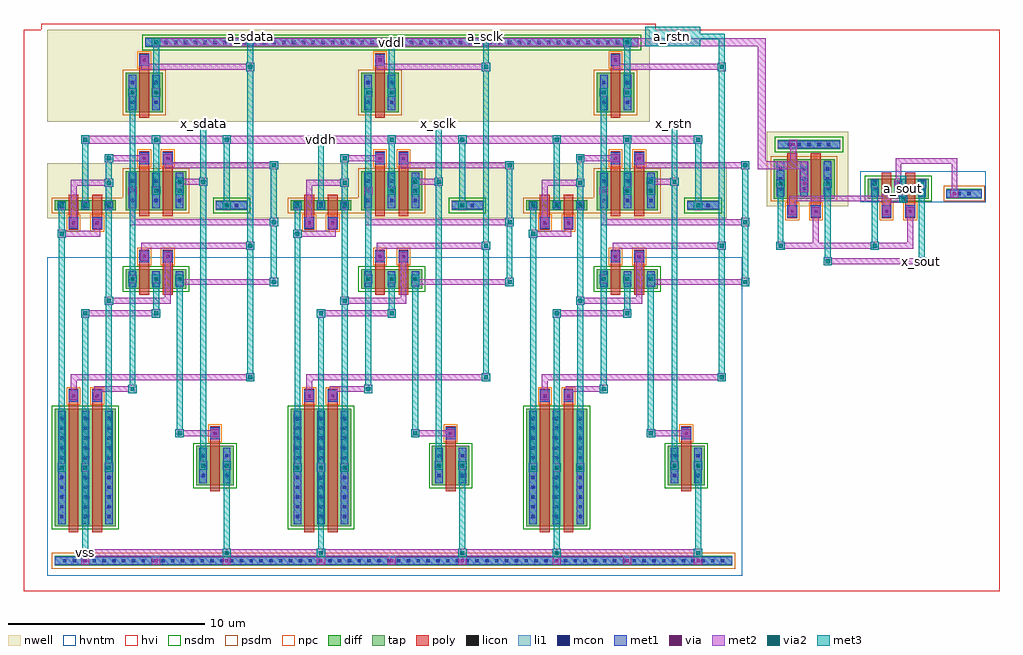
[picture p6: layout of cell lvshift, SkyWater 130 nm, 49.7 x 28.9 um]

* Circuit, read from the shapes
.subckt lvshift a_rstn a_sclk a_sdata a_sout vddh vddl vss x_rstn x_sclk x_sdata x_sout
XM1 vss a_sdata n1 vss sky130_fd_pr__nfet_g5v0d10v5 w=6 l=0.5
XM2 n2 n3 vss vss sky130_fd_pr__nfet_g5v0d10v5 w=6 l=0.5
XM3 vss a_sdata n3 vss sky130_fd_pr__nfet_g5v0d10v5 w=1 l=0.5
XM4 n4 n2 vss vss sky130_fd_pr__nfet_g5v0d10v5 w=1 l=0.5
XM5 vss n4 x_sdata vss sky130_fd_pr__nfet_g5v0d10v5 w=2 l=0.5
XM6 vss a_sclk n5 vss sky130_fd_pr__nfet_g5v0d10v5 w=6 l=0.5
XM7 n6 n7 vss vss sky130_fd_pr__nfet_g5v0d10v5 w=6 l=0.5
XM8 vss a_sclk n7 vss sky130_fd_pr__nfet_g5v0d10v5 w=1 l=0.5
XM9 n8 n6 vss vss sky130_fd_pr__nfet_g5v0d10v5 w=1 l=0.5
XM10 vss n8 x_sclk vss sky130_fd_pr__nfet_g5v0d10v5 w=2 l=0.5
XM11 vss a_rstn n9 vss sky130_fd_pr__nfet_g5v0d10v5 w=6 l=0.5
XM12 n10 n11 vss vss sky130_fd_pr__nfet_g5v0d10v5 w=6 l=0.5
XM13 vss a_rstn n11 vss sky130_fd_pr__nfet_g5v0d10v5 w=1 l=0.5
XM14 n12 n10 vss vss sky130_fd_pr__nfet_g5v0d10v5 w=1 l=0.5
XM15 vss n12 x_rstn vss sky130_fd_pr__nfet_g5v0d10v5 w=2 l=0.5
XM16 vss a_sout n13 vss sky130_fd_pr__nfet_g5v0d10v5 w=1 l=0.5
XM17 x_sout n13 vss vss sky130_fd_pr__nfet_g5v0d10v5 w=1 l=0.5
XM18 vddh n2 n1 vddh sky130_fd_pr__pfet_g5v0d10v5 w=0.5 l=0.5
XM19 n2 n1 vddh vddh sky130_fd_pr__pfet_g5v0d10v5 w=0.5 l=0.5
XM20 vddh n2 n4 vddh sky130_fd_pr__pfet_g5v0d10v5 w=2 l=0.5
XM21 vddl a_sdata n3 vddl sky130_fd_pr__pfet_g5v0d10v5 w=2 l=0.5
XM22 x_sdata n4 vddh vddh sky130_fd_pr__pfet_g5v0d10v5 w=2 l=0.5
XM23 vddh n6 n5 vddh sky130_fd_pr__pfet_g5v0d10v5 w=0.5 l=0.5
XM24 n6 n5 vddh vddh sky130_fd_pr__pfet_g5v0d10v5 w=0.5 l=0.5
XM25 vddh n6 n8 vddh sky130_fd_pr__pfet_g5v0d10v5 w=2 l=0.5
XM26 vddl a_sclk n7 vddl sky130_fd_pr__pfet_g5v0d10v5 w=2 l=0.5
XM27 x_sclk n8 vddh vddh sky130_fd_pr__pfet_g5v0d10v5 w=2 l=0.5
XM28 vddh n10 n9 vddh sky130_fd_pr__pfet_g5v0d10v5 w=0.5 l=0.5
XM29 n10 n9 vddh vddh sky130_fd_pr__pfet_g5v0d10v5 w=0.5 l=0.5
XM30 vddh n10 n12 vddh sky130_fd_pr__pfet_g5v0d10v5 w=2 l=0.5
XM31 vddl a_rstn n11 vddl sky130_fd_pr__pfet_g5v0d10v5 w=2 l=0.5
XM32 x_rstn n12 vddh vddh sky130_fd_pr__pfet_g5v0d10v5 w=2 l=0.5
XM33 vddl a_sout n13 vddl sky130_fd_pr__pfet_g5v0d10v5 w=2 l=0.5
XM34 x_sout n13 vddl vddl sky130_fd_pr__pfet_g5v0d10v5 w=2 l=0.5
.ends

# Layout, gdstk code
import gdstk
lib = gdstk.Library(unit=1e-6, precision=1e-09)
def R(c, l, rs):  # rectangles x0, y0, x1, y1
    for r in rs: c.add(gdstk.rectangle(r[:2], r[2:], *l))
def A(c, l, x, y, w, h, nx, ny, dx, dy):  # array of equal rectangles
    R(c, l, [(x+i*dx, y+j*dy, x+i*dx+w, y+j*dy+h) for i in range(nx) for j in range(ny)])
nwell = (64, 20)
diff = (65, 20)
tap = (65, 44)
poly = (66, 20)
licon = (66, 44)
li1 = (67, 20)
mcon = (67, 44)
met1 = (68, 20)
via = (68, 44)
met2 = (69, 20)
via2 = (69, 44)
met3 = (70, 20)
hvi = (75, 20)
nsdm = (93, 44)
psdm = (94, 20)
npc = (95, 20)
hvntm = (125, 20)

lvshift = lib.new_cell('lvshift')
R(lvshift, nwell, [(0.2,16.6,34.8,19.4), (36.85,17.2,41,21), (0.2,21.5,30.9,26.2)])
A(lvshift, diff, 0.6, 0.9, 3.1, 6, 3, 1, 12, 0)
A(lvshift, diff, 7.8, 3, 1.9, 2, 3, 1, 12, 0)
A(lvshift, diff, 4.2, 13, 3.1, 1, 3, 1, 12, 0)
A(lvshift, diff, 0.6, 17, 3.1, 0.5, 3, 1, 12, 0)
A(lvshift, diff, 4.2, 17, 3.1, 2, 3, 1, 12, 0)
A(lvshift, diff, 4.2, 22, 1.9, 2, 3, 1, 12, 0)
R(lvshift, diff, [(37.2,17.6,40.3,19.6), (42,17.6,45.1,18.6)])
A(lvshift, tap, 8.8, 17, 1.6, 0.5, 3, 1, 12, 0)
R(lvshift, tap, [(0.6,-1.1,35.1,-0.6), (46,17.6,47.8,18.1), (37.4,20.1,40.6,20.6), (5.2,25.3,30.3,25.8)])
A(lvshift, poly, 8.5, 2.7, 0.5, 3.3, 3, 1, 12, 0)
A(lvshift, poly, 4.9, 21.7, 0.5, 3.3, 3, 1, 12, 0)
R(lvshift, poly, [(1.3,0.6,1.8,7.9), (2.5,0.6,3,7.9), (13.3,0.6,13.8,7.9), (14.5,0.6,15,7.9), (25.3,0.6,25.8,7.9), (26.5,0.6,27,7.9), (4.9,12.7,5.4,15), (6.1,12.7,6.6,15), (16.9,12.7,17.4,15), (18.1,12.7,18.6,15), (28.9,12.7,29.4,15), (30.1,12.7,30.6,15), (1.3,16,1.8,16.7), (2.5,16,3,16.7), (13.3,16,13.8,16.7), (14.5,16,15,16.7), (25.3,16,25.8,16.7), (26.5,16,27,16.7), (37.9,16.6,38.4,17.3), (39.1,16.6,39.6,17.3), (42.7,16.6,43.2,17.3), (43.9,16.6,44.4,17.3), (1.3,16.7,1.8,17.8), (2.5,16.7,3,17.8), (4.9,16.7,5.4,20), (6.1,16.7,6.6,20), (13.3,16.7,13.8,17.8), (14.5,16.7,15,17.8), (16.9,16.7,17.4,20), (18.1,16.7,18.6,20), (25.3,16.7,25.8,17.8), (26.5,16.7,27,17.8), (28.9,16.7,29.4,20), (30.1,16.7,30.6,20), (37.9,17.3,38.4,19.9), (39.1,17.3,39.6,19.9), (42.7,17.3,43.2,18.9), (43.9,17.3,44.4,18.9)])
A(lvshift, licon, 1.015, -0.935, 0.17, 0.17, 68, 1, 0.5, 0)
A(lvshift, licon, 0.865, 1.315, 0.17, 0.17, 3, 11, 1.2, 0.5)
A(lvshift, licon, 12.865, 1.315, 0.17, 0.17, 3, 11, 1.2, 0.5)
A(lvshift, licon, 24.865, 1.315, 0.17, 0.17, 3, 11, 1.2, 0.5)
A(lvshift, licon, 8.065, 3.415, 0.17, 0.17, 1, 3, 0, 0.5)
A(lvshift, licon, 9.265, 3.415, 0.17, 0.17, 1, 3, 0, 0.5)
A(lvshift, licon, 20.065, 3.415, 0.17, 0.17, 1, 3, 0, 0.5)
A(lvshift, licon, 21.265, 3.415, 0.17, 0.17, 1, 3, 0, 0.5)
A(lvshift, licon, 32.065, 3.415, 0.17, 0.17, 1, 3, 0, 0.5)
A(lvshift, licon, 33.265, 3.415, 0.17, 0.17, 1, 3, 0, 0.5)
A(lvshift, licon, 8.665, 5.565, 0.17, 0.17, 3, 1, 12, 0)
A(lvshift, licon, 4.465, 13.415, 0.17, 0.17, 3, 2, 1.2, 4)
A(lvshift, licon, 16.465, 13.415, 0.17, 0.17, 3, 2, 1.2, 4)
A(lvshift, licon, 28.465, 13.415, 0.17, 0.17, 3, 2, 1.2, 4)
A(lvshift, licon, 0.865, 17.165, 0.17, 0.17, 3, 1, 1.2, 0)
A(lvshift, licon, 12.865, 17.165, 0.17, 0.17, 3, 1, 1.2, 0)
A(lvshift, licon, 24.865, 17.165, 0.17, 0.17, 3, 1, 1.2, 0)
A(lvshift, licon, 4.465, 17.915, 0.17, 0.17, 3, 2, 1.2, 0.5)
A(lvshift, licon, 16.465, 17.915, 0.17, 0.17, 3, 2, 1.2, 0.5)
A(lvshift, licon, 28.465, 17.915, 0.17, 0.17, 3, 2, 1.2, 0.5)
A(lvshift, licon, 37.465, 18.015, 0.17, 0.17, 3, 3, 1.2, 0.5)
A(lvshift, licon, 42.265, 18.015, 0.17, 0.17, 3, 1, 1.2, 0)
A(lvshift, licon, 37.915, 20.265, 0.17, 0.17, 5, 1, 0.5, 0)
A(lvshift, licon, 4.465, 22.415, 0.17, 0.17, 1, 3, 0, 0.5)
A(lvshift, licon, 5.665, 22.415, 0.17, 0.17, 1, 3, 0, 0.5)
A(lvshift, licon, 16.465, 22.415, 0.17, 0.17, 1, 3, 0, 0.5)
A(lvshift, licon, 17.665, 22.415, 0.17, 0.17, 1, 3, 0, 0.5)
A(lvshift, licon, 28.465, 22.415, 0.17, 0.17, 1, 3, 0, 0.5)
A(lvshift, licon, 29.665, 22.415, 0.17, 0.17, 1, 3, 0, 0.5)
A(lvshift, licon, 5.065, 24.565, 0.17, 0.17, 3, 1, 12, 0)
A(lvshift, licon, 5.665, 25.465, 0.17, 0.17, 49, 1, 0.5, 0)
R(lvshift, licon, [(1.465,7.465,1.635,7.635), (2.665,7.465,2.835,7.635), (13.465,7.465,13.635,7.635), (14.665,7.465,14.835,7.635), (25.465,7.465,25.635,7.635), (26.665,7.465,26.835,7.635), (5.065,14.565,5.235,14.735), (6.265,14.565,6.435,14.735), (17.065,14.565,17.235,14.735), (18.265,14.565,18.435,14.735), (29.065,14.565,29.235,14.735), (30.265,14.565,30.435,14.735), (1.465,16.265,1.635,16.435), (2.665,16.265,2.835,16.435), (13.465,16.265,13.635,16.435), (14.665,16.265,14.835,16.435), (25.465,16.265,25.635,16.435), (26.665,16.265,26.835,16.435), (38.065,16.865,38.235,17.035), (39.265,16.865,39.435,17.035), (42.865,16.865,43.035,17.035), (44.065,16.865,44.235,17.035), (9.265,17.165,9.435,17.335), (9.765,17.165,9.935,17.335), (21.265,17.165,21.435,17.335), (21.765,17.165,21.935,17.335), (33.265,17.165,33.435,17.335), (33.765,17.165,33.935,17.335), (46.565,17.765,46.735,17.935), (47.065,17.765,47.235,17.935), (5.065,19.565,5.235,19.735), (6.265,19.565,6.435,19.735), (17.065,19.565,17.235,19.735), (18.265,19.565,18.435,19.735), (29.065,19.565,29.235,19.735), (30.265,19.565,30.435,19.735)])
A(lvshift, li1, 0.76, 1, 0.38, 5.8, 3, 1, 1.2, 0)
A(lvshift, li1, 12.76, 1, 0.38, 5.8, 3, 1, 1.2, 0)
A(lvshift, li1, 24.76, 1, 0.38, 5.8, 3, 1, 1.2, 0)
A(lvshift, li1, 8.5, 5.35, 0.5, 0.6, 3, 1, 12, 0)
A(lvshift, li1, 4.36, 13.1, 0.38, 0.8, 3, 1, 1.2, 0)
A(lvshift, li1, 16.36, 13.1, 0.38, 0.8, 3, 1, 1.2, 0)
A(lvshift, li1, 28.36, 13.1, 0.38, 0.8, 3, 1, 1.2, 0)
A(lvshift, li1, 8.8, 17.05, 1.6, 0.4, 3, 1, 12, 0)
A(lvshift, li1, 0.76, 17.1, 0.38, 0.3, 3, 1, 1.2, 0)
A(lvshift, li1, 4.36, 17.1, 0.38, 1.8, 3, 1, 1.2, 0)
A(lvshift, li1, 12.76, 17.1, 0.38, 0.3, 3, 1, 1.2, 0)
A(lvshift, li1, 16.36, 17.1, 0.38, 1.8, 3, 1, 1.2, 0)
A(lvshift, li1, 24.76, 17.1, 0.38, 0.3, 3, 1, 1.2, 0)
A(lvshift, li1, 28.36, 17.1, 0.38, 1.8, 3, 1, 1.2, 0)
A(lvshift, li1, 37.36, 17.7, 0.38, 1.8, 3, 1, 1.2, 0)
A(lvshift, li1, 42.16, 17.7, 0.38, 0.8, 3, 1, 1.2, 0)
A(lvshift, li1, 4.9, 24.35, 0.5, 0.6, 3, 1, 12, 0)
R(lvshift, li1, [(0.6,-1.05,35.1,-0.65), (7.96,3.1,8.34,4.9), (9.16,3.1,9.54,4.9), (19.96,3.1,20.34,4.9), (21.16,3.1,21.54,4.9), (31.96,3.1,32.34,4.9), (33.16,3.1,33.54,4.9), (1.3,7.25,1.8,7.85), (2.5,7.25,3,7.85), (13.3,7.25,13.8,7.85), (14.5,7.25,15,7.85), (25.3,7.25,25.8,7.85), (26.5,7.25,27,7.85), (4.9,14.35,5.4,14.95), (6.1,14.35,6.6,14.95), (16.9,14.35,17.4,14.95), (18.1,14.35,18.6,14.95), (28.9,14.35,29.4,14.95), (30.1,14.35,30.6,14.95), (1.3,16.05,1.8,16.65), (2.5,16.05,3,16.65), (13.3,16.05,13.8,16.65), (14.5,16.05,15,16.65), (25.3,16.05,25.8,16.65), (26.5,16.05,27,16.65), (37.9,16.65,38.4,17.25), (39.1,16.65,39.6,17.25), (42.7,16.65,43.2,17.25), (43.9,16.65,44.4,17.25), (46,17.65,47.8,18.05), (4.9,19.35,5.4,19.95), (6.1,19.35,6.6,19.95), (16.9,19.35,17.4,19.95), (18.1,19.35,18.6,19.95), (28.9,19.35,29.4,19.95), (30.1,19.35,30.6,19.95), (37.4,20.15,40.6,20.55), (4.36,22.1,4.74,23.9), (5.56,22.1,5.94,23.9), (16.36,22.1,16.74,23.9), (17.56,22.1,17.94,23.9), (28.36,22.1,28.74,23.9), (29.56,22.1,29.94,23.9), (5.2,25.35,30.3,25.75)])
A(lvshift, mcon, 1.015, -0.935, 0.17, 0.17, 68, 1, 0.5, 0)
A(lvshift, mcon, 0.865, 1.315, 0.17, 0.17, 3, 11, 1.2, 0.5)
A(lvshift, mcon, 12.865, 1.315, 0.17, 0.17, 3, 11, 1.2, 0.5)
A(lvshift, mcon, 24.865, 1.315, 0.17, 0.17, 3, 11, 1.2, 0.5)
A(lvshift, mcon, 8.065, 3.415, 0.17, 0.17, 1, 3, 0, 0.5)
A(lvshift, mcon, 9.265, 3.415, 0.17, 0.17, 1, 3, 0, 0.5)
A(lvshift, mcon, 20.065, 3.415, 0.17, 0.17, 1, 3, 0, 0.5)
A(lvshift, mcon, 21.265, 3.415, 0.17, 0.17, 1, 3, 0, 0.5)
A(lvshift, mcon, 32.065, 3.415, 0.17, 0.17, 1, 3, 0, 0.5)
A(lvshift, mcon, 33.265, 3.415, 0.17, 0.17, 1, 3, 0, 0.5)
A(lvshift, mcon, 8.665, 5.565, 0.17, 0.17, 3, 1, 12, 0)
A(lvshift, mcon, 4.465, 13.415, 0.17, 0.17, 3, 2, 1.2, 4)
A(lvshift, mcon, 16.465, 13.415, 0.17, 0.17, 3, 2, 1.2, 4)
A(lvshift, mcon, 28.465, 13.415, 0.17, 0.17, 3, 2, 1.2, 4)
A(lvshift, mcon, 0.865, 17.165, 0.17, 0.17, 3, 1, 1.2, 0)
A(lvshift, mcon, 12.865, 17.165, 0.17, 0.17, 3, 1, 1.2, 0)
A(lvshift, mcon, 24.865, 17.165, 0.17, 0.17, 3, 1, 1.2, 0)
A(lvshift, mcon, 4.465, 17.915, 0.17, 0.17, 3, 2, 1.2, 0.5)
A(lvshift, mcon, 16.465, 17.915, 0.17, 0.17, 3, 2, 1.2, 0.5)
A(lvshift, mcon, 28.465, 17.915, 0.17, 0.17, 3, 2, 1.2, 0.5)
A(lvshift, mcon, 37.465, 18.015, 0.17, 0.17, 3, 3, 1.2, 0.5)
A(lvshift, mcon, 42.265, 18.015, 0.17, 0.17, 3, 1, 1.2, 0)
A(lvshift, mcon, 37.915, 20.265, 0.17, 0.17, 5, 1, 0.5, 0)
A(lvshift, mcon, 4.465, 22.415, 0.17, 0.17, 1, 3, 0, 0.5)
A(lvshift, mcon, 5.665, 22.415, 0.17, 0.17, 1, 3, 0, 0.5)
A(lvshift, mcon, 16.465, 22.415, 0.17, 0.17, 1, 3, 0, 0.5)
A(lvshift, mcon, 17.665, 22.415, 0.17, 0.17, 1, 3, 0, 0.5)
A(lvshift, mcon, 28.465, 22.415, 0.17, 0.17, 1, 3, 0, 0.5)
A(lvshift, mcon, 29.665, 22.415, 0.17, 0.17, 1, 3, 0, 0.5)
A(lvshift, mcon, 5.065, 24.565, 0.17, 0.17, 3, 1, 12, 0)
A(lvshift, mcon, 5.665, 25.465, 0.17, 0.17, 49, 1, 0.5, 0)
R(lvshift, mcon, [(1.465,7.465,1.635,7.635), (2.665,7.465,2.835,7.635), (13.465,7.465,13.635,7.635), (14.665,7.465,14.835,7.635), (25.465,7.465,25.635,7.635), (26.665,7.465,26.835,7.635), (5.065,14.565,5.235,14.735), (6.265,14.565,6.435,14.735), (17.065,14.565,17.235,14.735), (18.265,14.565,18.435,14.735), (29.065,14.565,29.235,14.735), (30.265,14.565,30.435,14.735), (1.465,16.265,1.635,16.435), (2.665,16.265,2.835,16.435), (13.465,16.265,13.635,16.435), (14.665,16.265,14.835,16.435), (25.465,16.265,25.635,16.435), (26.665,16.265,26.835,16.435), (38.065,16.865,38.235,17.035), (39.265,16.865,39.435,17.035), (42.865,16.865,43.035,17.035), (44.065,16.865,44.235,17.035), (9.265,17.165,9.435,17.335), (9.765,17.165,9.935,17.335), (21.265,17.165,21.435,17.335), (21.765,17.165,21.935,17.335), (33.265,17.165,33.435,17.335), (33.765,17.165,33.935,17.335), (46.565,17.765,46.735,17.935), (47.065,17.765,47.235,17.935), (5.065,19.565,5.235,19.735), (6.265,19.565,6.435,19.735), (17.065,19.565,17.235,19.735), (18.265,19.565,18.435,19.735), (29.065,19.565,29.235,19.735), (30.265,19.565,30.435,19.735)])
A(lvshift, met1, 2.005, -0.995, 0.29, 0.29, 3, 1, 3.6, 0)
A(lvshift, met1, 14.005, -0.995, 0.29, 0.29, 3, 1, 3.6, 0)
A(lvshift, met1, 26.005, -0.995, 0.29, 0.29, 3, 1, 3.6, 0)
A(lvshift, met1, 0.76, 1, 0.38, 5.8, 3, 1, 1.2, 0)
A(lvshift, met1, 12.76, 1, 0.38, 5.8, 3, 1, 1.2, 0)
A(lvshift, met1, 24.76, 1, 0.38, 5.8, 3, 1, 1.2, 0)
A(lvshift, met1, 0.805, 3.755, 0.29, 0.29, 3, 2, 1.2, 13.35)
A(lvshift, met1, 12.805, 3.755, 0.29, 0.29, 3, 2, 1.2, 13.35)
A(lvshift, met1, 24.805, 3.755, 0.29, 0.29, 3, 2, 1.2, 13.35)
A(lvshift, met1, 8.5, 5.35, 0.5, 0.6, 3, 1, 12, 0)
A(lvshift, met1, 8.605, 5.505, 0.29, 0.29, 3, 1, 12, 0)
A(lvshift, met1, 4.36, 13.1, 0.38, 0.8, 3, 1, 1.2, 0)
A(lvshift, met1, 16.36, 13.1, 0.38, 0.8, 3, 1, 1.2, 0)
A(lvshift, met1, 28.36, 13.1, 0.38, 0.8, 3, 1, 1.2, 0)
A(lvshift, met1, 4.405, 13.355, 0.29, 0.29, 3, 2, 1.2, 4.5)
A(lvshift, met1, 16.405, 13.355, 0.29, 0.29, 3, 2, 1.2, 4.5)
A(lvshift, met1, 28.405, 13.355, 0.29, 0.29, 3, 2, 1.2, 4.5)
A(lvshift, met1, 8.8, 17.05, 1.6, 0.4, 3, 1, 12, 0)
A(lvshift, met1, 0.76, 17.1, 0.38, 0.3, 3, 1, 1.2, 0)
A(lvshift, met1, 4.36, 17.1, 0.38, 1.8, 3, 1, 1.2, 0)
A(lvshift, met1, 12.76, 17.1, 0.38, 0.3, 3, 1, 1.2, 0)
A(lvshift, met1, 16.36, 17.1, 0.38, 1.8, 3, 1, 1.2, 0)
A(lvshift, met1, 24.76, 17.1, 0.38, 0.3, 3, 1, 1.2, 0)
A(lvshift, met1, 28.36, 17.1, 0.38, 1.8, 3, 1, 1.2, 0)
A(lvshift, met1, 37.36, 17.7, 0.38, 1.8, 3, 1, 1.2, 0)
A(lvshift, met1, 42.16, 17.7, 0.38, 0.8, 3, 1, 1.2, 0)
A(lvshift, met1, 37.405, 18.205, 0.29, 0.29, 3, 1, 1.2, 0)
A(lvshift, met1, 42.205, 18.205, 0.29, 0.29, 3, 1, 1.2, 0)
A(lvshift, met1, 4.9, 24.35, 0.5, 0.6, 3, 1, 12, 0)
A(lvshift, met1, 5.005, 24.505, 0.29, 0.29, 3, 1, 12, 0)
R(lvshift, met1, [(0.6,-1.05,35.1,-0.65), (7.96,3.1,8.34,4.9), (9.16,3.1,9.54,4.9), (19.96,3.1,20.34,4.9), (21.16,3.1,21.54,4.9), (31.96,3.1,32.34,4.9), (33.16,3.1,33.54,4.9), (8.005,3.855,8.295,4.145), (9.205,3.855,9.495,4.145), (20.005,3.855,20.295,4.145), (21.205,3.855,21.495,4.145), (32.005,3.855,32.295,4.145), (33.205,3.855,33.495,4.145), (1.3,7.25,1.8,7.85), (2.5,7.25,3,7.85), (13.3,7.25,13.8,7.85), (14.5,7.25,15,7.85), (25.3,7.25,25.8,7.85), (26.5,7.25,27,7.85), (1.405,7.405,1.695,7.695), (2.605,7.405,2.895,7.695), (13.405,7.405,13.695,7.695), (14.605,7.405,14.895,7.695), (25.405,7.405,25.695,7.695), (26.605,7.405,26.895,7.695), (4.9,14.35,5.4,14.95), (6.1,14.35,6.6,14.95), (16.9,14.35,17.4,14.95), (18.1,14.35,18.6,14.95), (28.9,14.35,29.4,14.95), (30.1,14.35,30.6,14.95), (5.005,14.505,5.295,14.795), (6.205,14.505,6.495,14.795), (17.005,14.505,17.295,14.795), (18.205,14.505,18.495,14.795), (29.005,14.505,29.295,14.795), (30.205,14.505,30.495,14.795), (1.3,16.05,1.8,16.65), (2.5,16.05,3,16.65), (13.3,16.05,13.8,16.65), (14.5,16.05,15,16.65), (25.3,16.05,25.8,16.65), (26.5,16.05,27,16.65), (1.405,16.205,1.695,16.495), (2.605,16.205,2.895,16.495), (13.405,16.205,13.695,16.495), (14.605,16.205,14.895,16.495), (25.405,16.205,25.695,16.495), (26.605,16.205,26.895,16.495), (37.9,16.65,38.4,17.25), (39.1,16.65,39.6,17.25), (42.7,16.65,43.2,17.25), (43.9,16.65,44.4,17.25), (38.005,16.805,38.295,17.095), (39.205,16.805,39.495,17.095), (42.805,16.805,43.095,17.095), (44.005,16.805,44.295,17.095), (9.205,17.105,9.495,17.395), (21.205,17.105,21.495,17.395), (33.205,17.105,33.495,17.395), (46,17.65,47.8,18.05), (46.255,17.705,46.545,17.995), (4.9,19.35,5.4,19.95), (6.1,19.35,6.6,19.95), (16.9,19.35,17.4,19.95), (18.1,19.35,18.6,19.95), (28.9,19.35,29.4,19.95), (30.1,19.35,30.6,19.95), (5.005,19.505,5.295,19.795), (6.205,19.505,6.495,19.795), (17.005,19.505,17.295,19.795), (18.205,19.505,18.495,19.795), (29.005,19.505,29.295,19.795), (30.205,19.505,30.495,19.795), (37.4,20.15,40.6,20.55), (38.055,20.205,38.345,20.495), (4.36,22.1,4.74,23.9), (5.56,22.1,5.94,23.9), (16.36,22.1,16.74,23.9), (17.56,22.1,17.94,23.9), (28.36,22.1,28.74,23.9), (29.56,22.1,29.94,23.9), (4.405,22.855,4.695,23.145), (5.605,22.855,5.895,23.145), (16.405,22.855,16.695,23.145), (17.605,22.855,17.895,23.145), (28.405,22.855,28.695,23.145), (29.605,22.855,29.895,23.145), (5.2,25.35,30.3,25.75), (17.605,25.405,17.895,25.695)])
A(lvshift, via, 2.075, -0.925, 0.15, 0.15, 3, 1, 3.6, 0)
A(lvshift, via, 14.075, -0.925, 0.15, 0.15, 3, 1, 3.6, 0)
A(lvshift, via, 26.075, -0.925, 0.15, 0.15, 3, 1, 3.6, 0)
A(lvshift, via, 0.875, 3.825, 0.15, 0.15, 3, 2, 1.2, 13.35)
A(lvshift, via, 12.875, 3.825, 0.15, 0.15, 3, 2, 1.2, 13.35)
A(lvshift, via, 24.875, 3.825, 0.15, 0.15, 3, 2, 1.2, 13.35)
A(lvshift, via, 8.675, 5.575, 0.15, 0.15, 3, 1, 12, 0)
A(lvshift, via, 4.475, 13.425, 0.15, 0.15, 3, 2, 1.2, 4.5)
A(lvshift, via, 16.475, 13.425, 0.15, 0.15, 3, 2, 1.2, 4.5)
A(lvshift, via, 28.475, 13.425, 0.15, 0.15, 3, 2, 1.2, 4.5)
A(lvshift, via, 37.475, 18.275, 0.15, 0.15, 3, 1, 1.2, 0)
A(lvshift, via, 42.275, 18.275, 0.15, 0.15, 3, 1, 1.2, 0)
A(lvshift, via, 5.075, 24.575, 0.15, 0.15, 3, 1, 12, 0)
R(lvshift, via, [(8.075,3.925,8.225,4.075), (9.275,3.925,9.425,4.075), (20.075,3.925,20.225,4.075), (21.275,3.925,21.425,4.075), (32.075,3.925,32.225,4.075), (33.275,3.925,33.425,4.075), (1.475,7.475,1.625,7.625), (2.675,7.475,2.825,7.625), (13.475,7.475,13.625,7.625), (14.675,7.475,14.825,7.625), (25.475,7.475,25.625,7.625), (26.675,7.475,26.825,7.625), (5.075,14.575,5.225,14.725), (6.275,14.575,6.425,14.725), (17.075,14.575,17.225,14.725), (18.275,14.575,18.425,14.725), (29.075,14.575,29.225,14.725), (30.275,14.575,30.425,14.725), (1.475,16.275,1.625,16.425), (2.675,16.275,2.825,16.425), (13.475,16.275,13.625,16.425), (14.675,16.275,14.825,16.425), (25.475,16.275,25.625,16.425), (26.675,16.275,26.825,16.425), (38.075,16.875,38.225,17.025), (39.275,16.875,39.425,17.025), (42.875,16.875,43.025,17.025), (44.075,16.875,44.225,17.025), (9.275,17.175,9.425,17.325), (21.275,17.175,21.425,17.325), (33.275,17.175,33.425,17.325), (46.325,17.775,46.475,17.925), (5.075,19.575,5.225,19.725), (6.275,19.575,6.425,19.725), (17.075,19.575,17.225,19.725), (18.275,19.575,18.425,19.725), (29.075,19.575,29.225,19.725), (30.275,19.575,30.425,19.725), (38.125,20.275,38.275,20.425), (4.475,22.925,4.625,23.075), (5.675,22.925,5.825,23.075), (16.475,22.925,16.625,23.075), (17.675,22.925,17.825,23.075), (28.475,22.925,28.625,23.075), (29.675,22.925,29.825,23.075), (17.675,25.475,17.825,25.625)])
A(lvshift, met2, 1.94, -1.06, 0.42, 0.42, 3, 2, 3.6, 21.45)
A(lvshift, met2, 13.94, -1.06, 0.42, 0.42, 3, 2, 3.6, 21.45)
A(lvshift, met2, 25.94, -1.06, 0.42, 0.42, 3, 2, 3.6, 21.45)
A(lvshift, met2, 6.8, 5.5, 2.1, 0.3, 3, 1, 12, 0)
A(lvshift, met2, 1.4, 7.4, 0.3, 1.25, 3, 1, 12, 0)
A(lvshift, met2, 2.6, 7.4, 0.3, 0.65, 3, 1, 12, 0)
A(lvshift, met2, 4.34, 7.69, 0.42, 0.42, 3, 1, 12, 0)
A(lvshift, met2, 2.6, 7.75, 2.1, 0.3, 3, 1, 12, 0)
A(lvshift, met2, 10.34, 8.29, 0.42, 0.42, 3, 2, 12, 6.7)
A(lvshift, met2, 1.4, 8.35, 9.3, 0.3, 3, 1, 12, 0)
A(lvshift, met2, 2, 11.6, 3.9, 0.3, 3, 1, 12, 0)
A(lvshift, met2, 3.14, 12.19, 0.42, 0.42, 3, 2, 12, 6)
A(lvshift, met2, 3.2, 12.25, 3.3, 0.3, 3, 1, 12, 0)
A(lvshift, met2, 6.2, 12.25, 0.3, 2.55, 3, 1, 12, 0)
A(lvshift, met2, 6.74, 13.14, 0.42, 0.57, 3, 1, 12, 0)
A(lvshift, met2, 11.54, 13.14, 0.42, 0.42, 3, 2, 12, 3.05)
A(lvshift, met2, 6.8, 13.2, 5.1, 0.3, 3, 1, 12, 0)
A(lvshift, met2, 5, 14.5, 0.3, 0.85, 3, 1, 12, 0)
A(lvshift, met2, 5, 15.05, 5.7, 0.3, 3, 2, 12, 9.1)
A(lvshift, met2, 0.74, 15.59, 0.42, 0.42, 3, 1, 12, 0)
A(lvshift, met2, 0.8, 15.65, 2.1, 0.3, 3, 1, 12, 0)
A(lvshift, met2, 2.6, 15.65, 0.3, 0.85, 3, 1, 12, 0)
A(lvshift, met2, 1.4, 16.2, 0.3, 2.35, 3, 1, 12, 0)
A(lvshift, met2, 4.4, 16.25, 7.5, 0.3, 3, 1, 12, 0)
A(lvshift, met2, 4.4, 16.25, 0.3, 1.9, 3, 1, 12, 0)
A(lvshift, met2, 6.74, 17.79, 0.42, 0.87, 3, 1, 12, 0)
A(lvshift, met2, 37.34, 18.14, 0.42, 0.42, 3, 1, 1.2, 0)
A(lvshift, met2, 42.14, 18.14, 0.42, 0.42, 3, 1, 1.2, 0)
A(lvshift, met2, 1.4, 18.25, 2.1, 0.3, 3, 1, 12, 0)
A(lvshift, met2, 6.8, 18.3, 1.5, 0.3, 3, 1, 12, 0)
A(lvshift, met2, 11.54, 19.09, 0.42, 0.42, 3, 1, 12, 0)
A(lvshift, met2, 6.2, 19.15, 0.3, 0.65, 3, 1, 12, 0)
A(lvshift, met2, 6.2, 19.15, 5.7, 0.3, 3, 1, 12, 0)
A(lvshift, met2, 3.2, 19.5, 2.1, 0.3, 3, 1, 12, 0)
A(lvshift, met2, 10.34, 24.09, 0.42, 0.42, 3, 1, 12, 0)
A(lvshift, met2, 5, 24.15, 0.3, 0.65, 3, 1, 12, 0)
A(lvshift, met2, 4.94, 24.44, 0.42, 0.42, 3, 1, 12, 0)
R(lvshift, met2, [(1.94,-0.66,2.36,-0.24), (9.14,-0.66,9.56,-0.24), (13.94,-0.66,14.36,-0.24), (21.14,-0.66,21.56,-0.24), (25.94,-0.66,26.36,-0.24), (33.14,-0.66,33.56,-0.24), (1.95,-0.65,33.55,-0.25), (0.74,3.69,1.16,4.11), (0.74,3.69,1.16,4.11), (1.94,3.69,2.36,4.11), (1.94,3.69,2.36,4.11), (3.14,3.69,3.56,4.11), (3.14,3.69,3.56,4.11), (12.74,3.69,13.16,4.11), (12.74,3.69,13.16,4.11), (13.94,3.69,14.36,4.11), (13.94,3.69,14.36,4.11), (15.14,3.69,15.56,4.11), (15.14,3.69,15.56,4.11), (24.74,3.69,25.16,4.11), (24.74,3.69,25.16,4.11), (25.94,3.69,26.36,4.11), (25.94,3.69,26.36,4.11), (27.14,3.69,27.56,4.11), (27.14,3.69,27.56,4.11), (7.94,3.79,8.36,4.21), (7.94,3.79,8.36,4.21), (9.14,3.79,9.56,4.21), (9.14,3.79,9.56,4.21), (19.94,3.79,20.36,4.21), (19.94,3.79,20.36,4.21), (21.14,3.79,21.56,4.21), (21.14,3.79,21.56,4.21), (31.94,3.79,32.36,4.21), (31.94,3.79,32.36,4.21), (33.14,3.79,33.56,4.21), (33.14,3.79,33.56,4.21), (6.74,5.44,7.16,5.86), (8.54,5.44,8.96,5.86), (18.74,5.44,19.16,5.86), (20.54,5.44,20.96,5.86), (30.74,5.44,31.16,5.86), (32.54,5.44,32.96,5.86), (1.34,7.34,1.76,7.76), (2.54,7.34,2.96,7.76), (13.34,7.34,13.76,7.76), (14.54,7.34,14.96,7.76), (25.34,7.34,25.76,7.76), (26.54,7.34,26.96,7.76), (1.94,11.54,2.36,11.96), (5.54,11.54,5.96,11.96), (13.94,11.54,14.36,11.96), (17.54,11.54,17.96,11.96), (25.94,11.54,26.36,11.96), (29.54,11.54,29.96,11.96), (4.34,13.29,4.76,13.71), (4.34,13.29,4.76,13.71), (5.54,13.29,5.96,13.71), (5.54,13.29,5.96,13.71), (6.74,13.29,7.16,13.71), (6.74,13.29,7.16,13.71), (16.34,13.29,16.76,13.71), (16.34,13.29,16.76,13.71), (17.54,13.29,17.96,13.71), (17.54,13.29,17.96,13.71), (18.74,13.29,19.16,13.71), (18.74,13.29,19.16,13.71), (28.34,13.29,28.76,13.71), (28.34,13.29,28.76,13.71), (29.54,13.29,29.96,13.71), (29.54,13.29,29.96,13.71), (30.74,13.29,31.16,13.71), (30.74,13.29,31.16,13.71), (39.74,14.19,40.16,14.61), (44.54,14.19,44.96,14.61), (39.8,14.25,44.9,14.55), (4.94,14.44,5.36,14.86), (6.14,14.44,6.56,14.86), (16.94,14.44,17.36,14.86), (18.14,14.44,18.56,14.86), (28.94,14.44,29.36,14.86), (30.14,14.44,30.56,14.86), (37.34,14.99,37.76,15.41), (42.14,14.99,42.56,15.41), (37.4,15.05,44.3,15.35), (39.2,15.05,39.5,17.1), (44,15.05,44.3,17.1), (1.34,16.14,1.76,16.56), (2.54,16.14,2.96,16.56), (13.34,16.14,13.76,16.56), (14.54,16.14,14.96,16.56), (25.34,16.14,25.76,16.56), (26.54,16.14,26.96,16.56), (37.94,16.74,38.36,17.16), (39.14,16.74,39.56,17.16), (42.74,16.74,43.16,17.16), (43.94,16.74,44.36,17.16), (38,16.8,38.3,17.75), (42.8,16.8,43.1,17.75), (0.74,17.04,1.16,17.46), (0.74,17.04,1.16,17.46), (1.94,17.04,2.36,17.46), (1.94,17.04,2.36,17.46), (3.14,17.04,3.56,17.46), (3.14,17.04,3.56,17.46), (9.14,17.04,9.56,17.46), (9.14,17.04,9.56,17.46), (12.74,17.04,13.16,17.46), (12.74,17.04,13.16,17.46), (13.94,17.04,14.36,17.46), (13.94,17.04,14.36,17.46), (15.14,17.04,15.56,17.46), (15.14,17.04,15.56,17.46), (21.14,17.04,21.56,17.46), (21.14,17.04,21.56,17.46), (24.74,17.04,25.16,17.46), (24.74,17.04,25.16,17.46), (25.94,17.04,26.36,17.46), (25.94,17.04,26.36,17.46), (27.14,17.04,27.56,17.46), (27.14,17.04,27.56,17.46), (33.14,17.04,33.56,17.46), (33.14,17.04,33.56,17.46), (42.74,17.39,44.01,17.81), (43.59,17.39,44.01,17.81), (38,17.45,43.1,17.75), (46.19,17.64,46.61,18.06), (46.26,17.71,46.54,19.64), (4.34,17.79,4.76,18.21), (5.54,17.79,5.96,18.21), (5.54,17.79,5.96,18.21), (6.74,17.79,7.16,18.21), (6.74,17.79,7.16,18.21), (16.34,17.79,16.76,18.21), (17.54,17.79,17.96,18.21), (17.54,17.79,17.96,18.21), (18.74,17.79,19.16,18.21), (18.74,17.79,19.16,18.21), (28.34,17.79,28.76,18.21), (29.54,17.79,29.96,18.21), (29.54,17.79,29.96,18.21), (30.74,17.79,31.16,18.21), (30.74,17.79,31.16,18.21), (38.54,17.93,38.96,19.51), (37.34,18.14,37.76,18.56), (39.74,18.14,40.16,18.56), (42.14,18.14,42.56,18.56), (44.54,18.14,44.96,18.56), (43.41,18.21,43.69,19.64), (6.74,18.24,7.16,18.66), (7.94,18.24,8.36,18.66), (18.74,18.24,19.16,18.66), (19.94,18.24,20.36,18.66), (30.74,18.24,31.16,18.66), (31.94,18.24,32.36,18.66), (36.4,19.1,38.95,19.5), (36.4,19.1,36.8,25.75), (38.05,19.15,38.35,20.5), (43.41,19.36,46.54,19.64), (3.14,19.44,3.56,19.86), (4.94,19.44,5.36,19.86), (6.14,19.44,6.56,19.86), (15.14,19.44,15.56,19.86), (16.94,19.44,17.36,19.86), (18.14,19.44,18.56,19.86), (27.14,19.44,27.56,19.86), (28.94,19.44,29.36,19.86), (30.14,19.44,30.56,19.86), (37.99,20.14,38.41,20.56), (1.95,20.4,33.55,20.8), (4.34,22.79,4.76,23.21), (4.34,22.79,4.76,23.21), (5.54,22.79,5.96,23.21), (5.54,22.79,5.96,23.21), (16.34,22.79,16.76,23.21), (16.34,22.79,16.76,23.21), (17.54,22.79,17.96,23.21), (17.54,22.79,17.96,23.21), (28.34,22.79,28.76,23.21), (28.34,22.79,28.76,23.21), (29.54,22.79,29.96,23.21), (29.54,22.79,29.96,23.21), (5.54,25.34,5.96,25.76), (17.54,25.34,17.96,25.76), (17.54,25.34,17.96,25.76), (29.54,25.34,29.96,25.76), (5.55,25.35,29.95,25.75), (29.55,25.35,36.8,25.75)])
A(lvshift, via2, 0.85, 3.8, 0.2, 0.2, 3, 2, 1.2, 13.35)
A(lvshift, via2, 12.85, 3.8, 0.2, 0.2, 3, 2, 1.2, 13.35)
A(lvshift, via2, 24.85, 3.8, 0.2, 0.2, 3, 2, 1.2, 13.35)
A(lvshift, via2, 6.85, 5.55, 0.2, 0.2, 3, 1, 12, 0)
A(lvshift, via2, 4.45, 7.8, 0.2, 0.2, 3, 1, 12, 0)
A(lvshift, via2, 10.45, 8.4, 0.2, 0.2, 3, 2, 12, 6.7)
A(lvshift, via2, 3.25, 12.3, 0.2, 0.2, 3, 2, 12, 6)
A(lvshift, via2, 11.65, 13.25, 0.2, 0.2, 3, 2, 12, 3.05)
A(lvshift, via2, 4.45, 13.4, 0.2, 0.2, 3, 1, 1.2, 0)
A(lvshift, via2, 16.45, 13.4, 0.2, 0.2, 3, 1, 1.2, 0)
A(lvshift, via2, 28.45, 13.4, 0.2, 0.2, 3, 1, 1.2, 0)
A(lvshift, via2, 0.85, 15.7, 0.2, 0.2, 3, 1, 12, 0)
A(lvshift, via2, 37.45, 18.25, 0.2, 0.2, 4, 1, 2.4, 0)
A(lvshift, via2, 11.65, 19.2, 0.2, 0.2, 3, 1, 12, 0)
A(lvshift, via2, 3.25, 19.55, 0.2, 0.2, 3, 1, 12, 0)
A(lvshift, via2, 2.05, 20.5, 0.2, 0.2, 3, 1, 3.6, 0)
A(lvshift, via2, 14.05, 20.5, 0.2, 0.2, 3, 1, 3.6, 0)
A(lvshift, via2, 26.05, 20.5, 0.2, 0.2, 3, 1, 3.6, 0)
A(lvshift, via2, 10.45, 24.2, 0.2, 0.2, 3, 1, 12, 0)
A(lvshift, via2, 5.65, 25.45, 0.2, 0.2, 3, 1, 12, 0)
R(lvshift, via2, [(2.05,-0.55,2.25,-0.35), (9.25,-0.55,9.45,-0.35), (14.05,-0.55,14.25,-0.35), (21.25,-0.55,21.45,-0.35), (26.05,-0.55,26.25,-0.35), (33.25,-0.55,33.45,-0.35), (8.05,3.9,8.25,4.1), (9.25,3.9,9.45,4.1), (20.05,3.9,20.25,4.1), (21.25,3.9,21.45,4.1), (32.05,3.9,32.25,4.1), (33.25,3.9,33.45,4.1), (2.05,11.65,2.25,11.85), (5.65,11.65,5.85,11.85), (14.05,11.65,14.25,11.85), (17.65,11.65,17.85,11.85), (26.05,11.65,26.25,11.85), (29.65,11.65,29.85,11.85), (39.85,14.3,40.05,14.5), (44.65,14.3,44.85,14.5), (37.45,15.1,37.65,15.3), (42.25,15.1,42.45,15.3), (9.25,17.15,9.45,17.35), (21.25,17.15,21.45,17.35), (33.25,17.15,33.45,17.35), (43.7,17.5,43.9,17.7), (5.65,17.9,5.85,18.1), (6.85,17.9,7.05,18.1), (17.65,17.9,17.85,18.1), (18.85,17.9,19.05,18.1), (29.65,17.9,29.85,18.1), (30.85,17.9,31.05,18.1), (6.85,18.35,7.05,18.55), (8.05,18.35,8.25,18.55), (18.85,18.35,19.05,18.55), (20.05,18.35,20.25,18.55), (30.85,18.35,31.05,18.55), (32.05,18.35,32.25,18.55), (4.45,22.9,4.65,23.1), (5.65,22.9,5.85,23.1), (16.45,22.9,16.65,23.1), (17.65,22.9,17.85,23.1), (28.45,22.9,28.65,23.1), (29.65,22.9,29.85,23.1)])
A(lvshift, met3, 2, -0.6, 0.3, 4.65, 3, 1, 12, 0)
A(lvshift, met3, 9.2, -0.6, 0.3, 4.75, 3, 1, 12, 0)
A(lvshift, met3, 0.74, 3.69, 0.42, 0.42, 3, 2, 1.2, 13.35)
A(lvshift, met3, 12.74, 3.69, 0.42, 0.42, 3, 2, 1.2, 13.35)
A(lvshift, met3, 24.74, 3.69, 0.42, 0.42, 3, 2, 1.2, 13.35)
A(lvshift, met3, 0.8, 3.75, 0.3, 13.65, 3, 1, 12, 0)
A(lvshift, met3, 2, 3.75, 0.3, 8.15, 3, 1, 12, 0)
A(lvshift, met3, 3.2, 3.75, 0.3, 16.05, 3, 1, 12, 0)
A(lvshift, met3, 8, 3.85, 0.3, 17.7, 3, 1, 12, 0)
A(lvshift, met3, 6.74, 5.44, 0.42, 0.42, 3, 1, 12, 0)
A(lvshift, met3, 6.8, 5.5, 0.3, 8.15, 3, 1, 12, 0)
A(lvshift, met3, 4.34, 7.69, 0.42, 0.42, 3, 1, 12, 0)
A(lvshift, met3, 4.4, 7.75, 0.3, 15.4, 3, 1, 12, 0)
A(lvshift, met3, 10.34, 8.29, 0.42, 0.42, 3, 2, 12, 6.7)
A(lvshift, met3, 10.4, 8.35, 0.3, 17.65, 3, 1, 12, 0)
A(lvshift, met3, 5.6, 11.6, 0.3, 2.05, 3, 1, 12, 0)
A(lvshift, met3, 3.14, 12.19, 0.42, 0.42, 3, 2, 12, 6)
A(lvshift, met3, 6.74, 13.14, 0.42, 0.57, 3, 1, 12, 0)
A(lvshift, met3, 11.54, 13.14, 0.42, 0.42, 3, 2, 12, 3.05)
A(lvshift, met3, 11.6, 13.2, 0.3, 3.35, 3, 1, 12, 0)
A(lvshift, met3, 4.34, 13.29, 0.42, 0.42, 3, 1, 1.2, 0)
A(lvshift, met3, 16.34, 13.29, 0.42, 0.42, 3, 1, 1.2, 0)
A(lvshift, met3, 28.34, 13.29, 0.42, 0.42, 3, 1, 1.2, 0)
A(lvshift, met3, 0.74, 15.59, 0.42, 0.42, 3, 1, 12, 0)
A(lvshift, met3, 11.6, 16.25, 0.3, 3.2, 3, 1, 12, 0)
A(lvshift, met3, 6.74, 17.79, 0.42, 0.87, 3, 1, 12, 0)
A(lvshift, met3, 5.6, 17.85, 0.3, 2.9, 3, 1, 12, 0)
A(lvshift, met3, 37.34, 18.14, 0.42, 0.42, 4, 1, 2.4, 0)
A(lvshift, met3, 11.54, 19.09, 0.42, 0.42, 3, 1, 12, 0)
A(lvshift, met3, 3.14, 19.44, 0.42, 0.42, 3, 1, 12, 0)
A(lvshift, met3, 1.94, 20.39, 0.42, 0.42, 3, 1, 3.6, 0)
A(lvshift, met3, 13.94, 20.39, 0.42, 0.42, 3, 1, 3.6, 0)
A(lvshift, met3, 25.94, 20.39, 0.42, 0.42, 3, 1, 3.6, 0)
A(lvshift, met3, 5.6, 22.85, 0.3, 2.85, 3, 1, 12, 0)
A(lvshift, met3, 10.34, 24.09, 0.42, 0.42, 3, 1, 12, 0)
A(lvshift, met3, 10.4, 24.15, 0.3, 1.85, 3, 1, 12, 0)
A(lvshift, met3, 5.54, 25.34, 0.42, 0.42, 3, 1, 12, 0)
R(lvshift, met3, [(1.94,-0.66,2.36,-0.24), (9.14,-0.66,9.56,-0.24), (13.94,-0.66,14.36,-0.24), (21.14,-0.66,21.56,-0.24), (25.94,-0.66,26.36,-0.24), (33.14,-0.66,33.56,-0.24), (7.94,3.79,8.36,4.21), (9.14,3.79,9.56,4.21), (19.94,3.79,20.36,4.21), (21.14,3.79,21.56,4.21), (31.94,3.79,32.36,4.21), (33.14,3.79,33.56,4.21), (1.94,11.54,2.36,11.96), (5.54,11.54,5.96,11.96), (13.94,11.54,14.36,11.96), (17.54,11.54,17.96,11.96), (25.94,11.54,26.36,11.96), (29.54,11.54,29.96,11.96), (39.74,14.19,40.16,14.61), (44.54,14.19,44.96,14.61), (39.8,14.25,40.1,18.5), (44.6,14.25,44.9,18.5), (37.34,14.99,37.76,15.41), (42.14,14.99,42.56,15.41), (37.4,15.05,37.7,18.5), (42.2,15.05,42.5,18.5), (9.14,17.04,9.56,17.46), (21.14,17.04,21.56,17.46), (33.14,17.04,33.56,17.46), (2,17.1,2.3,20.75), (9.2,17.1,9.5,20.75), (14,17.1,14.3,20.75), (21.2,17.1,21.5,20.75), (26,17.1,26.3,20.75), (33.2,17.1,33.5,20.75), (43.59,17.39,44.01,17.81), (43.65,17.45,43.95,18.75), (5.54,17.79,5.96,18.21), (6.74,17.79,7.16,18.21), (17.54,17.79,17.96,18.21), (18.74,17.79,19.16,18.21), (29.54,17.79,29.96,18.21), (30.74,17.79,31.16,18.21), (6.74,18.24,7.16,18.66), (7.94,18.24,8.36,18.66), (18.74,18.24,19.16,18.66), (19.94,18.24,20.36,18.66), (30.74,18.24,31.16,18.66), (31.94,18.24,32.36,18.66), (4.34,22.79,4.76,23.21), (5.54,22.79,5.96,23.21), (16.34,22.79,16.76,23.21), (17.54,22.79,17.96,23.21), (28.34,22.79,28.76,23.21), (29.54,22.79,29.96,23.21), (30.65,25.35,33.45,26.35), (31.9,25.7,34.7,26)])
R(lvshift, hvi, [(-1,-2.4,48.7,26.2), (-1,-2.4,36.4,23), (-0.1,-1.9,35.9,14.9), (-0.1,16.3,35.1,19.7), (36.55,16.9,41.3,21.3), (41.3,17.1,48.3,19.3), (-0.1,21.2,31.2,26.5)])
A(lvshift, nsdm, 0.45, 0.75, 3.4, 6.3, 3, 1, 12, 0)
A(lvshift, nsdm, 7.65, 2.85, 2.2, 2.3, 3, 1, 12, 0)
A(lvshift, nsdm, 4.05, 12.85, 3.4, 1.3, 3, 1, 12, 0)
A(lvshift, nsdm, 8.65, 16.85, 1.9, 0.8, 3, 1, 12, 0)
R(lvshift, nsdm, [(41.85,17.45,45.25,18.75), (37.25,19.95,40.75,20.75), (5.05,25.15,30.45,25.95)])
A(lvshift, psdm, 0.45, 16.85, 3.4, 0.8, 3, 1, 12, 0)
A(lvshift, psdm, 3.7, 16.85, 0.5, 0.8, 3, 1, 12, 0)
A(lvshift, psdm, 4.05, 16.85, 3.4, 2.3, 3, 1, 12, 0)
A(lvshift, psdm, 4.05, 21.85, 2.2, 2.3, 3, 1, 12, 0)
R(lvshift, psdm, [(0.45,-1.25,35.25,-0.45), (37.05,17.45,40.45,19.75), (45.85,17.45,47.95,18.25)])
A(lvshift, npc, 8.4, 5.2, 0.7, 0.9, 3, 1, 12, 0)
A(lvshift, npc, 4.8, 24.2, 0.7, 0.9, 3, 1, 12, 0)
R(lvshift, npc, [(1.2,7.1,1.9,8), (2.4,7.1,3.1,8), (13.2,7.1,13.9,8), (14.4,7.1,15.1,8), (25.2,7.1,25.9,8), (26.4,7.1,27.1,8), (4.8,14.2,5.5,15.1), (6,14.2,6.7,15.1), (16.8,14.2,17.5,15.1), (18,14.2,18.7,15.1), (28.8,14.2,29.5,15.1), (30,14.2,30.7,15.1), (1.2,15.9,1.9,16.8), (2.4,15.9,3.1,16.8), (13.2,15.9,13.9,16.8), (14.4,15.9,15.1,16.8), (25.2,15.9,25.9,16.8), (26.4,15.9,27.1,16.8), (37.8,16.5,38.5,17.4), (39,16.5,39.7,17.4), (42.6,16.5,43.3,17.4), (43.8,16.5,44.5,17.4), (4.8,19.2,5.5,20.1), (6,19.2,6.7,20.1), (16.8,19.2,17.5,20.1), (18,19.2,18.7,20.1), (28.8,19.2,29.5,20.1), (30,19.2,30.7,20.1)])
R(lvshift, hvntm, [(0.2,-1.6,35.6,14.6), (41.6,17.4,48,19)])
lvshift.add(gdstk.Label('vddh', (14.15,20.6), layer=70, texttype=5))
lvshift.add(gdstk.Label('vss', (2.15,-0.45), layer=70, texttype=5))
lvshift.add(gdstk.Label('a_sout', (43.8,18.1), layer=70, texttype=5))
lvshift.add(gdstk.Label('x_rstn', (32.15,21.4), layer=70, texttype=5))
lvshift.add(gdstk.Label('a_rstn', (32.05,25.85), layer=70, texttype=5))
lvshift.add(gdstk.Label('x_sout', (44.75,14.4), layer=70, texttype=5))
lvshift.add(gdstk.Label('x_sclk', (20.15,21.4), layer=70, texttype=5))
lvshift.add(gdstk.Label('a_sclk', (22.55,25.85), layer=70, texttype=5))
lvshift.add(gdstk.Label('x_sdata', (8.15,21.4), layer=70, texttype=5))
lvshift.add(gdstk.Label('vddl', (17.75,25.55), layer=70, texttype=5))
lvshift.add(gdstk.Label('a_sdata', (10.55,25.85), layer=70, texttype=5))

lib.write_gds('lvshift.gds')
